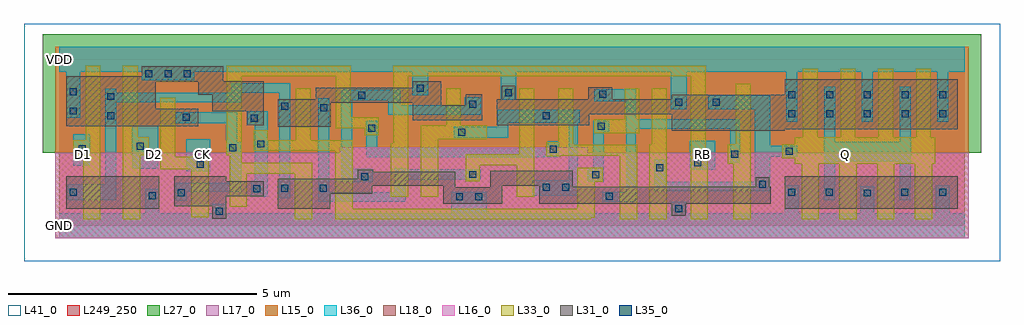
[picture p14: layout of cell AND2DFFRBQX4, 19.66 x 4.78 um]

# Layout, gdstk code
import gdstk
lib = gdstk.Library(unit=1e-6, precision=1e-09)
def R(c, l, rs):  # rectangles x0, y0, x1, y1
    for r in rs: c.add(gdstk.rectangle(r[:2], r[2:], *l))
def A(c, l, x, y, w, h, nx, ny, dx, dy):  # array of equal rectangles
    R(c, l, [(x+i*dx, y+j*dy, x+i*dx+w, y+j*dy+h) for i in range(nx) for j in range(ny)])
def P(c, l, *ps):  # polygons
    for p in ps: c.add(gdstk.Polygon(p, *l))
L15_0 = (15, 0)
L16_0 = (16, 0)
L17_0 = (17, 0)
L18_0 = (18, 0)
L27_0 = (27, 0)
L31_0 = (31, 0)
L33_0 = (33, 0)
L35_0 = (35, 0)
L36_0 = (36, 0)
L41_0 = (41, 0)
L249_250 = (249, 250)

and2dffrbqx4 = lib.new_cell('AND2DFFRBQX4')
P(and2dffrbqx4, L15_0, [(-0.08,1.47),(-0.08,3.61),(18.32,3.61),(18.32,1.47),(10.641,1.47),(10.641,1.58),(5.648,1.58),(5.648,1.47)])
P(and2dffrbqx4, L16_0, [(-0.08,-0.25),(-0.08,1.47),(5.648,1.47),(5.648,1.58),(10.641,1.58),(10.641,1.47),(18.32,1.47),(18.32,-0.25)])
P(and2dffrbqx4, L17_0, [(-0.08,1.47),(-0.08,3.61),(18.32,3.61),(18.32,1.47),(10.641,1.47),(10.641,1.58),(5.648,1.58),(5.648,1.47)])
P(and2dffrbqx4, L18_0, [(-0.08,-0.25),(-0.08,1.47),(5.648,1.47),(5.648,1.58),(10.641,1.58),(10.641,1.47),(18.32,1.47),(18.32,-0.25)])
P(and2dffrbqx4, L27_0, [(-0.33,1.47),(-0.33,3.86),(18.57,3.86),(18.57,1.47),(10.641,1.47),(10.641,1.58),(5.648,1.58),(5.648,1.47)])
R(and2dffrbqx4, L31_0, [(0.14,0.35,2.01,1), (14.614,0.35,18.1,1)])
P(and2dffrbqx4, L31_0, [(1.66,2.009),(1.66,2.01),(0.14,2.01),(0.14,3.01),(1.662,3.01),(1.662,3.22),(3.299,3.22),(3.299,2.91),(4.123,2.91),(4.123,2.024),(3.779,2.024),(3.779,2.31),(3.079,2.31),(3.079,2.639),(2.797,2.639),(2.797,2.901),(1.939,2.901),(1.939,2.359),(2.799,2.359),(2.799,2.009)],
  [(4.403,2),(4.403,2.55),(5.163,2.55),(5.163,2.78),(7.124,2.78),(7.124,2.91),(7.692,2.91),(7.692,2.427),(8.192,2.427),(8.192,2.65),(8.522,2.65),(8.522,2.127),(7.124,2.127),(7.124,2.48),(5.472,2.48),(5.472,2)],
  [(12.338,1.92),(12.338,2.25),(10.68,2.25),(10.68,2.03),(8.809,2.03),(8.809,2.55),(8.909,2.55),(8.909,2.822),(9.189,2.822),(9.189,2.55),(10.657,2.55),(10.657,2.79),(11.135,2.79),(11.135,2.55),(12.338,2.55),(12.338,2.64),(14.618,2.64),(14.618,2.95),(18.1,2.95),(18.1,1.95),(14.618,1.95),(14.618,1.92)],
  [(12.338,0.209),(12.338,0.45),(9.669,0.45),(9.669,0.81),(8.925,0.81),(8.925,0.45),(7.732,0.45),(7.732,0.81),(6.307,0.81),(6.307,0.65),(5.463,0.65),(5.463,0.35),(4.404,0.35),(4.404,0.95),(6.013,0.95),(6.013,1.13),(6.321,1.13),(6.321,1.09),(7.972,1.09),(7.972,0.78),(8.685,0.78),(8.685,1.11),(10.339,1.11),(10.339,0.79),(14.026,0.79),(14.026,0.977),(14.306,0.977),(14.306,0.79),(14.334,0.79),(14.334,0.45),(12.618,0.45),(12.618,0.209)],
  [(3.08,0.148),(3.08,0.397),(2.32,0.397),(2.32,0.997),(3.36,0.997),(3.36,0.902),(4.124,0.902),(4.124,0.602),(3.36,0.602),(3.36,0.148)])
P(and2dffrbqx4, L33_0, [(10.78,1.87),(10.78,2.15),(11.388,2.15),(11.388,2.77),(11.688,2.77),(11.688,1.87)],
  [(9.219,0.59),(9.219,1.22),(8.47,1.22),(8.47,0.895),(8.19,0.895),(8.19,1.44),(9.269,1.44),(9.269,2.77),(9.569,2.77),(9.569,0.59)],
  [(7.282,0.59),(7.282,2.027),(7.792,2.027),(7.792,2.77),(8.092,2.77),(8.092,2.027),(8.609,2.027),(8.609,1.747),(7.632,1.747),(7.632,0.59)],
  [(2.66,0.177),(2.66,1.138),(2.039,1.138),(2.039,2.579),(2.339,2.579),(2.339,1.388),(3.01,1.388),(3.01,0.177)],
  [(14.954,0.13),(14.954,1.25),(14.819,1.25),(14.819,1.36),(14.566,1.36),(14.566,1.64),(14.819,1.64),(14.819,1.783),(14.978,1.783),(14.978,3.17),(15.278,3.17),(15.278,1.783),(15.738,1.783),(15.738,3.17),(16.038,3.17),(16.038,1.783),(16.498,1.783),(16.498,3.17),(16.798,3.17),(16.798,1.783),(17.258,1.783),(17.258,3.17),(17.558,3.17),(17.558,1.783),(17.646,1.783),(17.646,1.25),(17.584,1.25),(17.584,0.13),(17.234,0.13),(17.234,1.25),(16.824,1.25),(16.824,0.13),(16.474,0.13),(16.474,1.25),(16.064,1.25),(16.064,0.13),(15.714,0.13),(15.714,1.25),(15.304,1.25),(15.304,0.13)],
  [(13.576,0.13),(13.576,1.25),(13.47,1.25),(13.47,1.64),(13.626,1.64),(13.626,2.86),(13.926,2.86),(13.926,0.13)],
  [(12.718,0.13),(12.718,3.01),(7.032,3.01),(7.032,0.59),(6.682,0.59),(6.682,1.668),(6.732,1.668),(6.732,3.23),(13.018,3.23),(13.018,1.5),(13.068,1.5),(13.068,0.13)],
  [(11.888,0.13),(11.888,1.646),(11.938,1.646),(11.938,2.77),(12.238,2.77),(12.238,0.13)],
  [(11.288,0.13),(11.288,1.41),(10.089,1.41),(10.089,1.407),(9.809,1.407),(9.809,1.687),(10.049,1.687),(10.049,2.77),(10.349,2.77),(10.349,1.63),(11.638,1.63),(11.638,0.13)],
  [(5.563,0.13),(5.563,1.51),(3.92,1.51),(3.92,1.924),(4.202,1.924),(4.202,1.73),(4.763,1.73),(4.763,2.77),(5.063,2.77),(5.063,1.73),(5.913,1.73),(5.913,0.35),(10.439,0.35),(10.439,1.17),(10.949,1.17),(10.949,0.89),(10.789,0.89),(10.789,0.164),(10.703,0.164),(10.703,0.13)],
  [(4.744,0.13),(4.744,1.05),(3.78,1.05),(3.78,0.382),(3.43,0.382),(3.43,1.423),(3.364,1.423),(3.364,1.715),(3.379,1.715),(3.379,3.23),(5.872,3.23),(5.872,2.19),(6.432,2.19),(6.432,1.823),(6.152,1.823),(6.152,1.97),(5.572,1.97),(5.572,3.01),(3.679,3.01),(3.679,1.703),(3.68,1.703),(3.68,1.27),(5.094,1.27),(5.094,0.13)],
  [(1.28,0.13),(1.28,3.23),(1.58,3.23),(1.58,1.781),(1.799,1.781),(1.799,1.419),(1.63,1.419),(1.63,0.13)],
  [(0.48,0.13),(0.48,1.364),(0.286,1.364),(0.286,1.726),(0.53,1.726),(0.53,3.23),(0.83,3.23),(0.83,0.13)])
A(and2dffrbqx4, L35_0, 14.688, 2.185, 0.14, 0.14, 5, 2, 0.76, 0.39)
A(and2dffrbqx4, L35_0, 1.732, 2.999, 0.14, 0.14, 3, 1, 0.39, 0)
R(and2dffrbqx4, L35_0, [(3.15,0.228,3.29,0.368), (12.408,0.279,12.548,0.419), (7.992,0.52,8.132,0.66), (8.382,0.52,8.522,0.66), (11.012,0.526,11.152,0.666), (1.8,0.54,1.94,0.68), (16.204,0.593,16.344,0.733), (2.39,0.598,2.53,0.738), (0.21,0.605,0.35,0.745), (14.684,0.605,14.824,0.745), (15.444,0.605,15.584,0.745), (16.964,0.605,17.104,0.745), (17.724,0.605,17.864,0.745), (3.91,0.682,4.05,0.822), (5.249,0.69,5.389,0.83), (4.474,0.691,4.614,0.831), (9.739,0.705,9.879,0.845), (10.129,0.705,10.269,0.845), (14.096,0.767,14.236,0.907), (6.083,0.92,6.223,1.06), (10.739,0.96,10.879,1.1), (8.26,0.965,8.4,1.105), (12.028,1.1,12.168,1.24), (2.77,1.167,2.91,1.307), (12.788,1.197,12.928,1.337), (13.54,1.37,13.68,1.51), (14.636,1.43,14.776,1.57), (9.879,1.477,10.019,1.617), (0.394,1.481,0.534,1.621), (3.424,1.505,3.564,1.645), (1.561,1.536,1.701,1.676), (3.99,1.58,4.13,1.72), (8.036,1.817,8.176,1.957), (6.222,1.893,6.362,2.033), (10.85,1.94,10.99,2.08), (3.858,2.101,3.998,2.241), (2.489,2.115,2.629,2.255), (0.97,2.147,1.11,2.287), (9.739,2.152,9.879,2.292), (0.21,2.245,0.35,2.385), (5.259,2.31,5.399,2.45), (4.473,2.34,4.613,2.48), (8.262,2.382,8.402,2.522), (13.168,2.418,13.308,2.558), (12.408,2.424,12.548,2.564), (0.97,2.537,1.11,2.677), (6.022,2.559,6.162,2.699), (10.875,2.58,11.015,2.72), (8.979,2.612,9.119,2.752), (0.21,2.635,0.35,2.775), (7.203,2.7,7.343,2.84)])
R(and2dffrbqx4, L36_0, [(2.56,1.097,3.044,1.748), (12.698,1.127,13.211,1.718), (1.471,1.155,1.993,2.015), (0.285,1.212,0.617,1.851)])
P(and2dffrbqx4, L36_0, [(9.523,0.606),(9.523,0.915),(10.259,0.915),(10.259,2.082),(9.046,2.082),(9.046,1.777),(7.946,1.777),(7.946,1.997),(8.828,1.997),(8.828,2.342),(10.489,2.342),(10.489,2.082),(10.449,2.082),(10.449,0.606)],
  [(3.87,0.592),(3.87,0.912),(3.937,0.912),(3.937,2.025),(3.784,2.025),(3.784,2.31),(4.195,2.31),(4.195,0.592)],
  [(15.404,0.515),(15.404,0.835),(15.408,0.835),(15.408,2.805),(15.628,2.805),(15.628,1.692),(16.928,1.692),(16.928,2.805),(17.148,2.805),(17.148,0.802),(17.144,0.802),(17.144,0.515),(16.924,0.515),(16.924,0.835),(16.928,0.835),(16.928,1.307),(15.628,1.307),(15.628,0.807),(15.624,0.807),(15.624,0.515)],
  [(0.93,0.514),(0.93,0.515),(0.17,0.515),(0.17,0.835),(0.93,0.835),(0.93,2.767),(1.15,2.767),(1.15,2.68),(3.469,2.68),(3.469,2.87),(4.655,2.87),(4.655,0.56),(4.435,0.56),(4.435,2.68),(3.659,2.68),(3.659,2.49),(1.15,2.49),(1.15,0.514)],
  [(2.35,0.508),(2.35,0.873),(3.45,0.873),(3.45,1.465),(3.364,1.465),(3.364,2.07),(2.343,2.07),(2.343,2.29),(3.584,2.29),(3.584,1.685),(3.67,1.685),(3.67,0.683),(2.57,0.683),(2.57,0.508)],
  [(10.942,0.49),(10.942,0.691),(11.418,0.691),(11.418,2.51),(10.779,2.51),(10.779,2.75),(11.608,2.75),(11.608,2.148),(13.706,2.148),(13.706,1.277),(13.515,1.277),(13.515,1.958),(11.608,1.958),(11.608,0.49)],
  [(5.219,0.49),(5.219,2.57),(5.439,2.57),(5.439,0.68),(6.76,0.68),(6.76,1.157),(6.98,1.157),(6.98,1.145),(8.49,1.145),(8.49,0.925),(6.98,0.925),(6.98,0.49)],
  [(0,-0.25),(0,0.25),(1.73,0.25),(1.73,0.75),(2.01,0.75),(2.01,0.25),(3.08,0.25),(3.08,0.443),(3.36,0.443),(3.36,0.25),(7.898,0.25),(7.898,0.685),(8.608,0.685),(8.608,0.25),(12.318,0.25),(12.318,0.489),(12.638,0.489),(12.638,0.25),(14.614,0.25),(14.614,0.815),(14.894,0.815),(14.894,0.25),(16.134,0.25),(16.134,0.803),(16.414,0.803),(16.414,0.25),(17.654,0.25),(17.654,0.815),(17.934,0.815),(17.934,0.25),(18.24,0.25),(18.24,-0.25)],
  [(6.182,1.387),(6.182,2.123),(6.402,2.123),(6.402,1.577),(9.839,1.577),(9.839,1.707),(10.059,1.707),(10.059,1.387)],
  [(14.648,2.095),(14.648,3.11),(12.638,3.11),(12.638,2.354),(12.318,2.354),(12.318,3.11),(9.209,3.11),(9.209,2.542),(8.889,2.542),(8.889,3.11),(7.433,3.11),(7.433,2.63),(7.113,2.63),(7.113,3.11),(2.722,3.11),(2.722,2.929),(1.662,2.929),(1.662,3.11),(0.42,3.11),(0.42,2.175),(0.14,2.175),(0.14,3.11),(0,3.11),(0,3.61),(18.24,3.61),(18.24,3.11),(17.908,3.11),(17.908,2.095),(17.688,2.095),(17.688,3.11),(16.388,3.11),(16.388,2.095),(16.168,2.095),(16.168,3.11),(14.868,3.11),(14.868,2.095)],
  [(11.988,0.697),(11.988,1.33),(12.208,1.33),(12.208,0.887),(14.006,0.887),(14.006,2.348),(13.078,2.348),(13.078,2.628),(14.326,2.628),(14.326,1.61),(14.866,1.61),(14.866,1.39),(14.326,1.39),(14.326,0.697)],
  [(5.679,0.88),(5.679,2.743),(6.873,2.743),(6.873,2.43),(8.172,2.43),(8.172,2.592),(8.492,2.592),(8.492,2.24),(6.631,2.24),(6.631,2.529),(5.899,2.529),(5.899,1.15),(6.313,1.15),(6.313,0.88)],
  [(10.649,0.886),(10.649,1.17),(10.76,1.17),(10.76,2.12),(11.08,2.12),(11.08,1.9),(10.969,1.9),(10.969,0.886)])
R(and2dffrbqx4, L41_0, [(-0.71,-0.708,18.95,4.068)])
R(and2dffrbqx4, L249_250, [(0,0,18.24,3.36)])
and2dffrbqx4.add(gdstk.Label('D1', (0.48,1.44), layer=211, texttype=0))
and2dffrbqx4.add(gdstk.Label('D2', (1.92,1.44), layer=211, texttype=0))
and2dffrbqx4.add(gdstk.Label('CK', (2.88,1.44), layer=211, texttype=0))
and2dffrbqx4.add(gdstk.Label('VDD', (0,3.36), layer=211, texttype=0))
and2dffrbqx4.add(gdstk.Label('GND', (0,0), layer=211, texttype=0))
and2dffrbqx4.add(gdstk.Label('RB', (12.96,1.44), layer=211, texttype=0))
and2dffrbqx4.add(gdstk.Label('Q', (15.84,1.44), layer=211, texttype=0))

lib.write_gds('AND2DFFRBQX4.gds')
